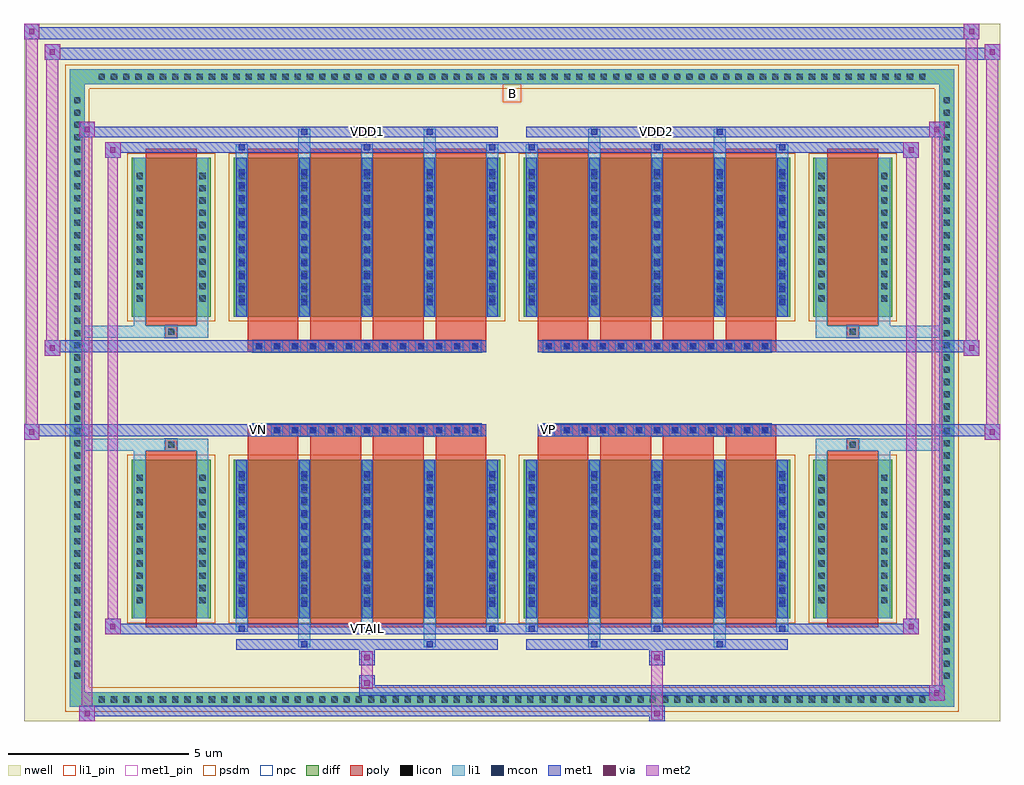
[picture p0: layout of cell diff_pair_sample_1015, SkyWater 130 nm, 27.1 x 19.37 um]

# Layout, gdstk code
import gdstk
lib = gdstk.Library(unit=1e-6, precision=5e-09)
def R(c, l, rs):  # rectangles x0, y0, x1, y1
    for r in rs: c.add(gdstk.rectangle(r[:2], r[2:], *l))
def A(c, l, x, y, w, h, nx, ny, dx, dy):  # array of equal rectangles
    R(c, l, [(x+i*dx, y+j*dy, x+i*dx+w, y+j*dy+h) for i in range(nx) for j in range(ny)])
def P(c, l, *ps):  # polygons
    for p in ps: c.add(gdstk.Polygon(p, *l))
nwell = (64, 20)
diff = (65, 20)
poly = (66, 20)
licon = (66, 44)
li1_pin = (67, 16)
li1 = (67, 20)
mcon = (67, 44)
met1_pin = (68, 16)
met1 = (68, 20)
via = (68, 44)
met2 = (69, 20)
psdm = (94, 20)
npc = (95, 20)

diff_pair_sample_1015 = lib.new_cell('diff_pair_sample_1015')
R(diff_pair_sample_1015, nwell, [(-13.55,-9.25,13.55,10.12), (-10.87,-7.44,-0.01,-0.8), (0.01,-7.44,10.87,-0.8), (-10.87,0.8,-0.01,7.44), (0.01,0.8,10.87,7.44)])
A(diff_pair_sample_1015, diff, -11.595, -8.85, 0.41, 0.41, 68, 2, 0.34, 17.29)
A(diff_pair_sample_1015, diff, -12.28, -8.195, 0.41, 0.41, 1, 48, 0, 0.34)
A(diff_pair_sample_1015, diff, 11.87, -8.195, 0.41, 0.41, 1, 48, 0, 0.34)
R(diff_pair_sample_1015, diff, [(-11.595,-8.85,11.595,-8.44), (-12.28,-8.195,-11.87,8.195), (11.87,-8.195,12.28,8.195), (-10.56,-6.395,-8.37,-1.985), (-7.73,-6.395,-0.32,-1.985), (0.32,-6.395,7.73,-1.985), (8.37,-6.395,10.56,-1.985), (-10.56,1.985,-8.37,6.395), (-7.73,1.985,-0.32,6.395), (0.32,1.985,7.73,6.395), (8.37,1.985,10.56,6.395), (-11.595,8.44,11.595,8.85)])
P(diff_pair_sample_1015, diff, [(12.28,8.85),(-12.28,8.85),(-12.28,-8.44),(-11.87,-8.44),(-11.87,8.44),(11.87,8.44),(11.87,-8.44),(-11.87,-8.44),(-12.28,-8.44),(-12.28,-8.85),(12.28,-8.85)])
A(diff_pair_sample_1015, poly, -7.34, -6.645, 1.41, 4.91, 4, 2, 1.74, 8.38)
A(diff_pair_sample_1015, poly, 0.71, -6.645, 1.41, 4.91, 4, 2, 1.74, 8.38)
A(diff_pair_sample_1015, poly, -7.34, -1.735, 1.41, 0.405, 4, 2, 1.74, 3.065)
A(diff_pair_sample_1015, poly, 0.71, -1.735, 1.41, 0.405, 4, 2, 1.74, 3.065)
A(diff_pair_sample_1015, poly, -7.19, -1.33, 0.33, 0.33, 13, 2, 0.5, 2.33)
A(diff_pair_sample_1015, poly, 0.86, -1.33, 0.33, 0.33, 13, 2, 0.5, 2.33)
R(diff_pair_sample_1015, poly, [(-10.17,-6.645,-8.76,-1.735), (8.76,-6.645,10.17,-1.735), (-9.63,-1.735,-9.3,-1.405), (-9.63,-1.735,-9.3,-1.405), (9.3,-1.735,9.63,-1.405), (9.3,-1.735,9.63,-1.405), (-7.34,-1.33,-0.71,-1), (0.71,-1.33,7.34,-1), (-7.34,1,-0.71,1.33), (0.71,1,7.34,1.33), (-9.63,1.405,-9.3,1.735), (-9.63,1.405,-9.3,1.735), (9.3,1.405,9.63,1.735), (9.3,1.405,9.63,1.735), (-10.17,1.735,-8.76,6.645), (8.76,1.735,10.17,6.645)])
A(diff_pair_sample_1015, licon, -11.475, -8.73, 0.17, 0.17, 68, 2, 0.34, 17.29)
A(diff_pair_sample_1015, licon, -12.16, -8.075, 0.17, 0.17, 1, 48, 0, 0.34)
A(diff_pair_sample_1015, licon, 11.99, -8.075, 0.17, 0.17, 1, 48, 0, 0.34)
A(diff_pair_sample_1015, licon, -10.42, -5.975, 0.17, 0.17, 1, 11, 0, 0.34)
A(diff_pair_sample_1015, licon, -8.68, -5.975, 0.17, 0.17, 1, 11, 0, 0.34)
A(diff_pair_sample_1015, licon, -7.59, -5.975, 0.17, 0.17, 5, 11, 1.74, 0.34)
A(diff_pair_sample_1015, licon, 0.46, -5.975, 0.17, 0.17, 5, 11, 1.74, 0.34)
A(diff_pair_sample_1015, licon, 8.51, -5.975, 0.17, 0.17, 1, 11, 0, 0.34)
A(diff_pair_sample_1015, licon, 10.25, -5.975, 0.17, 0.17, 1, 11, 0, 0.34)
A(diff_pair_sample_1015, licon, -7.11, -1.25, 0.17, 0.17, 13, 2, 0.5, 2.33)
A(diff_pair_sample_1015, licon, 0.94, -1.25, 0.17, 0.17, 13, 2, 0.5, 2.33)
A(diff_pair_sample_1015, licon, -10.42, 2.405, 0.17, 0.17, 1, 11, 0, 0.34)
A(diff_pair_sample_1015, licon, -8.68, 2.405, 0.17, 0.17, 1, 11, 0, 0.34)
A(diff_pair_sample_1015, licon, -7.59, 2.405, 0.17, 0.17, 5, 11, 1.74, 0.34)
A(diff_pair_sample_1015, licon, 0.46, 2.405, 0.17, 0.17, 5, 11, 1.74, 0.34)
A(diff_pair_sample_1015, licon, 8.51, 2.405, 0.17, 0.17, 1, 11, 0, 0.34)
A(diff_pair_sample_1015, licon, 10.25, 2.405, 0.17, 0.17, 1, 11, 0, 0.34)
R(diff_pair_sample_1015, licon, [(-9.55,-1.655,-9.38,-1.485), (9.38,-1.655,9.55,-1.485), (-9.55,1.485,-9.38,1.655), (9.38,1.485,9.55,1.655)])
R(diff_pair_sample_1015, li1_pin, [(-0.25,7.94,0.25,8.44)])
A(diff_pair_sample_1015, li1, -11.555, -8.81, 0.33, 0.33, 68, 2, 0.34, 17.29)
A(diff_pair_sample_1015, li1, -12.24, -8.155, 0.33, 0.33, 1, 48, 0, 0.34)
A(diff_pair_sample_1015, li1, 11.91, -8.155, 0.33, 0.33, 1, 48, 0, 0.34)
A(diff_pair_sample_1015, li1, -7.67, -6.77, 0.33, 0.375, 3, 2, 3.48, 13.165)
A(diff_pair_sample_1015, li1, -7.59, -6.77, 0.17, 0.17, 3, 2, 3.48, 13.37)
A(diff_pair_sample_1015, li1, 0.38, -6.77, 0.33, 0.375, 3, 2, 3.48, 13.165)
A(diff_pair_sample_1015, li1, 0.46, -6.77, 0.17, 0.17, 3, 2, 3.48, 13.37)
A(diff_pair_sample_1015, li1, -7.67, -6.395, 0.33, 4.41, 5, 2, 1.74, 8.38)
A(diff_pair_sample_1015, li1, 0.38, -6.395, 0.33, 4.41, 5, 2, 1.74, 8.38)
A(diff_pair_sample_1015, li1, -7.59, -6.075, 0.17, 0.17, 5, 11, 1.74, 0.36)
A(diff_pair_sample_1015, li1, -7.59, -6.075, 0.17, 3.77, 5, 2, 1.74, 8.38)
A(diff_pair_sample_1015, li1, 0.46, -6.075, 0.17, 0.17, 5, 11, 1.74, 0.36)
A(diff_pair_sample_1015, li1, 0.46, -6.075, 0.17, 3.77, 5, 2, 1.74, 8.38)
A(diff_pair_sample_1015, li1, -10.5, -6.055, 0.33, 0.33, 1, 11, 0, 0.34)
A(diff_pair_sample_1015, li1, -8.76, -6.055, 0.33, 0.33, 1, 11, 0, 0.34)
A(diff_pair_sample_1015, li1, -7.67, -6.055, 0.33, 0.33, 5, 11, 1.74, 0.34)
A(diff_pair_sample_1015, li1, 0.38, -6.055, 0.33, 0.33, 5, 11, 1.74, 0.34)
A(diff_pair_sample_1015, li1, 8.43, -6.055, 0.33, 0.33, 1, 11, 0, 0.34)
A(diff_pair_sample_1015, li1, 10.17, -6.055, 0.33, 0.33, 1, 11, 0, 0.34)
A(diff_pair_sample_1015, li1, -7.19, -1.33, 0.33, 0.33, 13, 2, 0.5, 2.33)
A(diff_pair_sample_1015, li1, 0.86, -1.33, 0.33, 0.33, 13, 2, 0.5, 2.33)
A(diff_pair_sample_1015, li1, -7.59, 2.305, 0.17, 0.17, 5, 11, 1.74, 0.36)
A(diff_pair_sample_1015, li1, 0.46, 2.305, 0.17, 0.17, 5, 11, 1.74, 0.36)
A(diff_pair_sample_1015, li1, -10.5, 2.325, 0.33, 0.33, 1, 11, 0, 0.34)
A(diff_pair_sample_1015, li1, -8.76, 2.325, 0.33, 0.33, 1, 11, 0, 0.34)
A(diff_pair_sample_1015, li1, -7.67, 2.325, 0.33, 0.33, 5, 11, 1.74, 0.34)
A(diff_pair_sample_1015, li1, 0.38, 2.325, 0.33, 0.33, 5, 11, 1.74, 0.34)
A(diff_pair_sample_1015, li1, 8.43, 2.325, 0.33, 0.33, 1, 11, 0, 0.34)
A(diff_pair_sample_1015, li1, 10.17, 2.325, 0.33, 0.33, 1, 11, 0, 0.34)
R(diff_pair_sample_1015, li1, [(-12.28,-8.85,-11.87,-8.44), (-12.28,-8.85,-11.87,-8.44), (-11.87,-8.85,11.87,-8.44), (11.87,-8.85,12.28,-8.44), (11.87,-8.85,12.28,-8.44), (-12.28,-8.44,-11.87,8.44), (11.87,-8.44,12.28,8.44), (-5.93,-7.2,-5.6,-6.395), (-5.85,-7.2,-5.68,-7.03), (-2.45,-7.2,-2.12,-6.395), (-2.37,-7.2,-2.2,-7.03), (2.12,-7.2,2.45,-6.395), (2.2,-7.2,2.37,-7.03), (5.6,-7.2,5.93,-6.395), (5.68,-7.2,5.85,-7.03), (-10.5,-6.395,-10.17,-1.985), (-8.76,-6.395,-8.43,-1.985), (8.43,-6.395,8.76,-1.985), (10.17,-6.395,10.5,-1.985), (-10.5,-1.985,-10.17,-1.405), (-8.76,-1.985,-8.43,-1.405), (8.43,-1.985,8.76,-1.405), (10.17,-1.985,10.5,-1.405), (-12.28,-1.735,-9.63,-1.405), (-10.5,-1.735,-9.63,-1.405), (-9.63,-1.735,-9.3,-1.405), (-9.3,-1.735,-8.43,-1.405), (8.43,-1.735,9.3,-1.405), (9.3,-1.735,9.63,-1.405), (9.3,-1.735,12.28,-1.405), (9.63,-1.735,10.5,-1.405), (-12.28,1.405,-9.63,1.735), (-10.5,1.405,-9.63,1.735), (-10.5,1.405,-10.17,1.985), (-9.63,1.405,-9.3,1.735), (-9.3,1.405,-8.43,1.735), (-8.76,1.405,-8.43,1.985), (8.43,1.405,9.3,1.735), (8.43,1.405,8.76,1.985), (9.3,1.405,9.63,1.735), (9.3,1.405,12.28,1.735), (9.63,1.405,10.5,1.735), (10.17,1.405,10.5,1.985), (-10.5,1.985,-10.17,6.395), (-8.76,1.985,-8.43,6.395), (8.43,1.985,8.76,6.395), (10.17,1.985,10.5,6.395), (-5.93,6.395,-5.6,7.2), (-2.45,6.395,-2.12,7.2), (2.12,6.395,2.45,7.2), (5.6,6.395,5.93,7.2), (-5.85,7.03,-5.68,7.2), (-2.37,7.03,-2.2,7.2), (2.2,7.03,2.37,7.2), (5.68,7.03,5.85,7.2), (-12.28,8.44,-11.87,8.85), (-12.28,8.44,-11.87,8.85), (-11.87,8.44,11.87,8.85), (11.87,8.44,12.28,8.85), (11.87,8.44,12.28,8.85)])
A(diff_pair_sample_1015, mcon, -7.59, -6.77, 0.17, 0.17, 3, 2, 3.48, 13.37)
A(diff_pair_sample_1015, mcon, 0.46, -6.77, 0.17, 0.17, 3, 2, 3.48, 13.37)
A(diff_pair_sample_1015, mcon, -7.59, -6.075, 0.17, 0.17, 5, 11, 1.74, 0.36)
A(diff_pair_sample_1015, mcon, 0.46, -6.075, 0.17, 0.17, 5, 11, 1.74, 0.36)
A(diff_pair_sample_1015, mcon, -7.11, -1.25, 0.17, 0.17, 13, 2, 0.5, 2.33)
A(diff_pair_sample_1015, mcon, 0.94, -1.25, 0.17, 0.17, 13, 2, 0.5, 2.33)
A(diff_pair_sample_1015, mcon, -7.59, 2.305, 0.17, 0.17, 5, 11, 1.74, 0.36)
A(diff_pair_sample_1015, mcon, 0.46, 2.305, 0.17, 0.17, 5, 11, 1.74, 0.36)
R(diff_pair_sample_1015, mcon, [(-5.85,-7.2,-5.68,-7.03), (-2.37,-7.2,-2.2,-7.03), (2.2,-7.2,2.37,-7.03), (5.68,-7.2,5.85,-7.03), (-5.85,7.03,-5.68,7.2), (-2.37,7.03,-2.2,7.2), (2.2,7.03,2.37,7.2), (5.68,7.03,5.85,7.2)])
R(diff_pair_sample_1015, met1_pin, [(-4.16,-6.81,-3.89,-6.54), (-7.16,-1.29,-6.89,-1.02), (0.89,-1.29,1.16,-1.02), (-4.16,6.99,-3.89,7.26), (3.89,6.99,4.16,7.26)])
A(diff_pair_sample_1015, met1, -7.65, -6.83, 0.29, 0.29, 3, 2, 3.48, 13.37)
A(diff_pair_sample_1015, met1, 0.4, -6.83, 0.29, 0.29, 3, 2, 3.48, 13.37)
A(diff_pair_sample_1015, met1, -7.65, -6.395, 0.29, 4.41, 5, 2, 1.74, 8.38)
A(diff_pair_sample_1015, met1, 0.4, -6.395, 0.29, 4.41, 5, 2, 1.74, 8.38)
A(diff_pair_sample_1015, met1, -7.65, -6.135, 0.29, 0.29, 5, 11, 1.74, 0.36)
A(diff_pair_sample_1015, met1, 0.4, -6.135, 0.29, 0.29, 5, 11, 1.74, 0.36)
A(diff_pair_sample_1015, met1, -7.17, -1.31, 0.29, 0.29, 13, 2, 0.5, 2.33)
A(diff_pair_sample_1015, met1, 0.88, -1.31, 0.29, 0.29, 13, 2, 0.5, 2.33)
A(diff_pair_sample_1015, met1, -7.65, 2.245, 0.29, 0.29, 5, 11, 1.74, 0.36)
A(diff_pair_sample_1015, met1, 0.4, 2.245, 0.29, 0.29, 5, 11, 1.74, 0.36)
R(diff_pair_sample_1015, met1, [(-12.01,-9.25,-11.58,-8.82), (3.81,-9.25,4.24,-8.82), (-12.01,-9.11,4.24,-8.82), (11.58,-8.68,12.01,-8.25), (-4.24,-8.54,12.01,-8.25), (-4.24,-8.4,-3.81,-7.97), (-4.24,-7.69,-3.81,-7.26), (3.81,-7.69,4.24,-7.26), (-7.65,-7.26,-0.4,-6.97), (-5.91,-7.26,-5.62,-6.97), (-2.43,-7.26,-2.14,-6.97), (0.4,-7.26,7.65,-6.97), (2.14,-7.26,2.43,-6.97), (5.62,-7.26,5.91,-6.97), (-11.3,-6.83,-10.87,-6.4), (-11.3,-6.83,-7.65,-6.54), (-7.65,-6.83,-0.4,-6.54), (-0.4,-6.83,0.4,-6.54), (0.4,-6.83,7.65,-6.54), (7.65,-6.83,11.3,-6.54), (10.87,-6.83,11.3,-6.4), (-13.55,-1.43,-13.12,-1), (13.12,-1.43,13.55,-1), (-13.55,-1.33,-0.71,-1), (-7.34,-1.33,-0.71,-1), (0.71,-1.33,7.34,-1), (0.71,-1.33,13.55,-1), (-12.98,0.9,-12.55,1.33), (12.55,0.9,12.98,1.33), (-12.98,1,-7.34,1.33), (-7.34,1,-0.71,1.33), (0.71,1,7.34,1.33), (7.34,1,12.98,1.33), (-11.3,6.4,-10.87,6.83), (10.87,6.4,11.3,6.83), (-11.3,6.54,-7.65,6.83), (-7.65,6.54,-0.4,6.83), (-0.4,6.54,0.4,6.83), (0.4,6.54,7.65,6.83), (7.65,6.54,11.3,6.83), (-12.01,6.97,-11.58,7.4), (-12.01,6.97,-7.65,7.26), (-7.65,6.97,-0.4,7.26), (-5.91,6.97,-5.62,7.26), (-2.43,6.97,-2.14,7.26), (0.4,6.97,7.65,7.26), (2.14,6.97,2.43,7.26), (5.62,6.97,5.91,7.26), (7.65,6.97,12.01,7.26), (11.58,6.97,12.01,7.4), (-12.98,9.12,-12.55,9.55), (-12.98,9.12,-10.87,9.45), (-10.87,9.12,10.87,9.45), (10.87,9.12,13.55,9.45), (13.12,9.12,13.55,9.55), (-13.55,9.69,-13.12,10.12), (-13.55,9.69,-10.87,10.02), (-10.87,9.69,10.87,10.02), (10.87,9.69,12.98,10.02), (12.55,9.69,12.98,10.12)])
R(diff_pair_sample_1015, via, [(-11.87,-9.11,-11.72,-8.96), (3.95,-9.11,4.1,-8.96), (11.72,-8.54,11.87,-8.39), (-4.1,-8.26,-3.95,-8.11), (-4.1,-7.55,-3.95,-7.4), (3.95,-7.55,4.1,-7.4), (-11.16,-6.69,-11.01,-6.54), (11.01,-6.69,11.16,-6.54), (-13.41,-1.29,-13.26,-1.14), (13.26,-1.29,13.41,-1.14), (-12.84,1.04,-12.69,1.19), (12.69,1.04,12.84,1.19), (-11.16,6.54,-11.01,6.69), (11.01,6.54,11.16,6.69), (-11.87,7.11,-11.72,7.26), (11.72,7.11,11.87,7.26), (-12.84,9.26,-12.69,9.41), (13.26,9.26,13.41,9.41), (-13.41,9.83,-13.26,9.98), (12.69,9.83,12.84,9.98)])
R(diff_pair_sample_1015, met2, [(-12.01,-9.25,-11.58,-8.82), (-11.94,-9.25,-11.65,7.4), (-11.65,-9.25,-11.58,-8.82), (-11.96,-9.2,-11.63,-8.87), (3.86,-9.2,4.19,-8.87), (3.86,-8.87,4.19,-7.64), (11.58,-8.68,12.01,-8.25), (11.65,-8.68,11.94,7.4), (11.94,-8.68,12.01,-8.25), (11.63,-8.63,11.96,-8.3), (-4.19,-8.35,-3.86,-8.02), (-4.19,-8.02,-3.86,-7.64), (-4.19,-7.64,-3.86,-7.31), (3.86,-7.64,4.19,-7.31), (-11.3,-6.83,-10.87,-6.4), (-11.23,-6.83,-10.94,6.83), (-10.94,-6.83,-10.87,-6.4), (10.87,-6.83,11.3,-6.4), (10.94,-6.83,11.23,6.83), (11.23,-6.83,11.3,-6.4), (-11.25,-6.78,-10.92,-6.45), (10.92,-6.78,11.25,-6.45), (-13.55,-1.43,-13.12,-1), (-13.5,-1.43,-13.17,10.12), (-13.17,-1.43,-13.12,-1), (13.12,-1.43,13.55,-1), (13.17,-1.43,13.5,9.55), (13.5,-1.43,13.55,-1), (-13.5,-1.38,-13.17,-1.05), (13.17,-1.38,13.5,-1.05), (-12.98,0.9,-12.55,1.33), (-12.93,0.9,-12.6,9.55), (-12.6,0.9,-12.55,1.33), (12.55,0.9,12.98,1.33), (12.6,0.9,12.93,10.12), (12.93,0.9,12.98,1.33), (-12.93,0.95,-12.6,1.28), (12.6,0.95,12.93,1.28), (-11.3,6.4,-10.87,6.83), (-10.94,6.4,-10.87,6.83), (10.87,6.4,11.3,6.83), (11.23,6.4,11.3,6.83), (-11.25,6.45,-10.92,6.78), (10.92,6.45,11.25,6.78), (-12.01,6.97,-11.58,7.4), (-11.65,6.97,-11.58,7.4), (11.58,6.97,12.01,7.4), (11.94,6.97,12.01,7.4), (-11.96,7.02,-11.63,7.35), (11.63,7.02,11.96,7.35), (-12.98,9.12,-12.55,9.55), (-12.6,9.12,-12.55,9.55), (13.12,9.12,13.55,9.55), (13.5,9.12,13.55,9.55), (-12.93,9.17,-12.6,9.5), (13.17,9.17,13.5,9.5), (-13.55,9.69,-13.12,10.12), (-13.17,9.69,-13.12,10.12), (12.55,9.69,12.98,10.12), (12.93,9.69,12.98,10.12), (-13.5,9.74,-13.17,10.07), (12.6,9.74,12.93,10.07)])
R(diff_pair_sample_1015, psdm, [(-10.69,-6.525,-8.24,-1.855), (-7.86,-6.525,-0.19,-1.855), (0.19,-6.525,7.86,-1.855), (8.24,-6.525,10.69,-1.855), (-10.69,1.855,-8.24,6.525), (-7.86,1.855,-0.19,6.525), (0.19,1.855,7.86,6.525), (8.24,1.855,10.69,6.525)])
P(diff_pair_sample_1015, psdm, [(12.41,8.98),(-12.41,8.98),(-12.41,-8.31),(-11.74,-8.31),(-11.74,8.31),(11.74,8.31),(11.74,-8.31),(-11.74,-8.31),(-12.41,-8.31),(-12.41,-8.98),(12.41,-8.98)])
A(diff_pair_sample_1015, npc, -7.21, -1.35, 0.37, 0.37, 13, 2, 0.5, 2.33)
A(diff_pair_sample_1015, npc, 0.84, -1.35, 0.37, 0.37, 13, 2, 0.5, 2.33)
R(diff_pair_sample_1015, npc, [(-9.65,-1.755,-9.28,-1.385), (9.28,-1.755,9.65,-1.385), (-7.21,-1.35,-6.34,-0.98), (-7.21,-1.35,-6.34,-0.98), (-6.71,-1.35,-5.84,-0.98), (-6.71,-1.35,-5.84,-0.98), (-6.21,-1.35,-5.34,-0.98), (-6.21,-1.35,-5.34,-0.98), (-5.71,-1.35,-4.84,-0.98), (-5.71,-1.35,-4.84,-0.98), (-5.21,-1.35,-4.34,-0.98), (-5.21,-1.35,-4.34,-0.98), (-4.71,-1.35,-3.84,-0.98), (-4.71,-1.35,-3.84,-0.98), (-4.21,-1.35,-3.34,-0.98), (-4.21,-1.35,-3.34,-0.98), (-3.71,-1.35,-2.84,-0.98), (-3.71,-1.35,-2.84,-0.98), (-3.21,-1.35,-2.34,-0.98), (-3.21,-1.35,-2.34,-0.98), (-2.71,-1.35,-1.84,-0.98), (-2.71,-1.35,-1.84,-0.98), (-2.21,-1.35,-1.34,-0.98), (-2.21,-1.35,-1.34,-0.98), (-1.71,-1.35,-0.84,-0.98), (-1.71,-1.35,-0.84,-0.98), (0.84,-1.35,1.71,-0.98), (0.84,-1.35,1.71,-0.98), (1.34,-1.35,2.21,-0.98), (1.34,-1.35,2.21,-0.98), (1.84,-1.35,2.71,-0.98), (1.84,-1.35,2.71,-0.98), (2.34,-1.35,3.21,-0.98), (2.34,-1.35,3.21,-0.98), (2.84,-1.35,3.71,-0.98), (2.84,-1.35,3.71,-0.98), (3.34,-1.35,4.21,-0.98), (3.34,-1.35,4.21,-0.98), (3.84,-1.35,4.71,-0.98), (3.84,-1.35,4.71,-0.98), (4.34,-1.35,5.21,-0.98), (4.34,-1.35,5.21,-0.98), (4.84,-1.35,5.71,-0.98), (4.84,-1.35,5.71,-0.98), (5.34,-1.35,6.21,-0.98), (5.34,-1.35,6.21,-0.98), (5.84,-1.35,6.71,-0.98), (5.84,-1.35,6.71,-0.98), (6.34,-1.35,7.21,-0.98), (6.34,-1.35,7.21,-0.98), (-7.21,0.98,-6.34,1.35), (-7.21,0.98,-6.34,1.35), (-6.71,0.98,-5.84,1.35), (-6.71,0.98,-5.84,1.35), (-6.21,0.98,-5.34,1.35), (-6.21,0.98,-5.34,1.35), (-5.71,0.98,-4.84,1.35), (-5.71,0.98,-4.84,1.35), (-5.21,0.98,-4.34,1.35), (-5.21,0.98,-4.34,1.35), (-4.71,0.98,-3.84,1.35), (-4.71,0.98,-3.84,1.35), (-4.21,0.98,-3.34,1.35), (-4.21,0.98,-3.34,1.35), (-3.71,0.98,-2.84,1.35), (-3.71,0.98,-2.84,1.35), (-3.21,0.98,-2.34,1.35), (-3.21,0.98,-2.34,1.35), (-2.71,0.98,-1.84,1.35), (-2.71,0.98,-1.84,1.35), (-2.21,0.98,-1.34,1.35), (-2.21,0.98,-1.34,1.35), (-1.71,0.98,-0.84,1.35), (-1.71,0.98,-0.84,1.35), (0.84,0.98,1.71,1.35), (0.84,0.98,1.71,1.35), (1.34,0.98,2.21,1.35), (1.34,0.98,2.21,1.35), (1.84,0.98,2.71,1.35), (1.84,0.98,2.71,1.35), (2.34,0.98,3.21,1.35), (2.34,0.98,3.21,1.35), (2.84,0.98,3.71,1.35), (2.84,0.98,3.71,1.35), (3.34,0.98,4.21,1.35), (3.34,0.98,4.21,1.35), (3.84,0.98,4.71,1.35), (3.84,0.98,4.71,1.35), (4.34,0.98,5.21,1.35), (4.34,0.98,5.21,1.35), (4.84,0.98,5.71,1.35), (4.84,0.98,5.71,1.35), (5.34,0.98,6.21,1.35), (5.34,0.98,6.21,1.35), (5.84,0.98,6.71,1.35), (5.84,0.98,6.71,1.35), (6.34,0.98,7.21,1.35), (6.34,0.98,7.21,1.35), (-9.65,1.385,-9.28,1.755), (9.28,1.385,9.65,1.755)])
diff_pair_sample_1015.add(gdstk.Label('VTAIL', (-4.025,-6.675), layer=68, texttype=5))
diff_pair_sample_1015.add(gdstk.Label('VN', (-7.025,-1.155), layer=68, texttype=5))
diff_pair_sample_1015.add(gdstk.Label('VP', (1.025,-1.155), layer=68, texttype=5))
diff_pair_sample_1015.add(gdstk.Label('B', (0,8.19), layer=67, texttype=5))
diff_pair_sample_1015.add(gdstk.Label('VDD2', (4.025,7.125), layer=68, texttype=5))
diff_pair_sample_1015.add(gdstk.Label('VDD1', (-4.025,7.125), layer=68, texttype=5))

lib.write_gds('diff_pair_sample_1015.gds')
